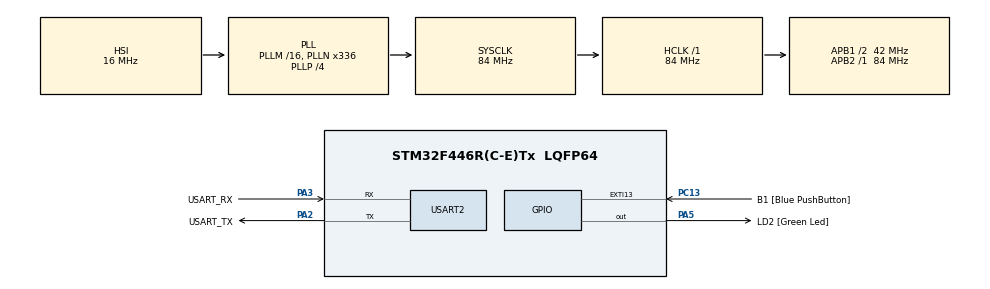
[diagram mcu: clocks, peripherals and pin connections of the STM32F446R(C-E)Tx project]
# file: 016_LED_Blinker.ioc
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Mcu.Family=STM32F4
Mcu.Name=STM32F446R(C-E)Tx
Mcu.Package=LQFP64
NVIC.PriorityGroup=NVIC_PRIORITYGROUP_0
PA13.GPIO_Label=TMS
PA13.Mode=Serial_Wire
PA13.Signal=SYS_JTMS-SWDIO
PA14.GPIO_Label=TCK
PA14.Mode=Serial_Wire
PA14.Signal=SYS_JTCK-SWCLK
PA2.GPIO_Label=USART_TX
PA2.Mode=Asynchronous
PA2.Signal=USART2_TX
PA3.GPIO_Label=USART_RX
PA3.Mode=Asynchronous
PA3.Signal=USART2_RX
PA5.GPIO_Label=LD2 [Green Led]
PA5.Signal=GPIO_Output
PB3.GPIO_Label=SWO
PB3.Signal=SYS_JTDO-SWO
PC13.GPIO_Label=B1 [Blue PushButton]
PC13.GPIO_ModeDefaultEXTI=GPIO_MODE_IT_FALLING
PC13.Signal=GPXTI13
PC14-OSC32_IN.Mode=LSE-External-Oscillator
PC14-OSC32_IN.Signal=RCC_OSC32_IN
PC15-OSC32_OUT.Mode=LSE-External-Oscillator
PC15-OSC32_OUT.Signal=RCC_OSC32_OUT
PH0-OSC_IN.Mode=HSE-External-Oscillator
PH0-OSC_IN.Signal=RCC_OSC_IN
PH1-OSC_OUT.Mode=HSE-External-Oscillator
PH1-OSC_OUT.Signal=RCC_OSC_OUT
ProjectManager.HeapSize=0x200
ProjectManager.StackSize=0x400
ProjectManager.TargetToolchain=STM32CubeIDE
RCC.48MHZClocksFreq_Value=84000000
RCC.AHBFreq_Value=84000000
RCC.APB1CLKDivider=RCC_HCLK_DIV2
RCC.APB1Freq_Value=42000000
RCC.APB1TimFreq_Value=84000000
RCC.APB2Freq_Value=84000000
RCC.APB2TimFreq_Value=84000000
RCC.CortexFreq_Value=84000000
RCC.FLatency-AdvancedSettings=FLASH_LATENCY_2
RCC.HCLKFreq_Value=84000000
RCC.HSE_VALUE=8000000
RCC.HSI_VALUE=16000000
RCC.PLLN=336
RCC.PLLP=RCC_PLLP_DIV4
RCC.SYSCLKFreq_VALUE=84000000
RCC.SYSCLKSource=RCC_SYSCLKSOURCE_PLLCLK
RCC.USBFreq_Value=168000000
RCC.VCOOutputFreq_Value=336000000
USART2.VirtualMode=VM_ASYNC
board=NUCLEO-F446RE

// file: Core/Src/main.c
/* USER CODE BEGIN Header */
/**
  ******************************************************************************
  * @file           : main.c
  * @brief          : Main program body
  ******************************************************************************
  * @attention
  *
  * Copyright (c) 2025 STMicroelectronics.
  * All rights reserved.
  *
  * This software is licensed under terms that can be found in the LICENSE file
  * in the root directory of this software component.
  * If no LICENSE file comes with this software, it is provided AS-IS.
  *
  ******************************************************************************
  */
/* USER CODE END Header */
#include "main.h"

/* USER CODE BEGIN PTD */

typedef enum {
	LED_Green,
	LED_BLUE
}LED_Type;

typedef enum {
	OFF,
	ON
}LED_State;

typedef struct {
	LED_Type type;
	LED_State state;
}LED_Status;

LED_Status currentr_led;

/* USER CODE END PTD */

UART_HandleTypeDef huart2;

void SystemClock_Config(void);
static void MX_GPIO_Init(void);
static void MX_USART2_UART_Init(void);
void led_toggle(void);

int main(void)
{

  /* MCU Configuration--------------------------------------------------------*/

  /* Reset of all peripherals, Initializes the Flash interface and the Systick. */
  HAL_Init();

  /* Configure the system clock */
  SystemClock_Config();

  /* Initialize all configured peripherals */
  MX_GPIO_Init();
  MX_USART2_UART_Init();

  /* Infinite loop */
  while (1)
  {
	  led_toggle();
  }
}

void SystemClock_Config(void)
{
  RCC_OscInitTypeDef RCC_OscInitStruct = {0};
  RCC_ClkInitTypeDef RCC_ClkInitStruct = {0};

  /** Configure the main internal regulator output voltage
  */
  __HAL_RCC_PWR_CLK_ENABLE();
  __HAL_PWR_VOLTAGESCALING_CONFIG(PWR_REGULATOR_VOLTAGE_SCALE3);

  /** Initializes the RCC Oscillators according to the specified parameters
  * in the RCC_OscInitTypeDef structure.
  */
  RCC_OscInitStruct.OscillatorType = RCC_OSCILLATORTYPE_HSI;
  RCC_OscInitStruct.HSIState = RCC_HSI_ON;
  RCC_OscInitStruct.HSICalibrationValue = RCC_HSICALIBRATION_DEFAULT;
  RCC_OscInitStruct.PLL.PLLState = RCC_PLL_ON;
  RCC_OscInitStruct.PLL.PLLSource = RCC_PLLSOURCE_HSI;
  RCC_OscInitStruct.PLL.PLLM = 16;
  RCC_OscInitStruct.PLL.PLLN = 336;
  RCC_OscInitStruct.PLL.PLLP = RCC_PLLP_DIV4;
  RCC_OscInitStruct.PLL.PLLQ = 2;
  RCC_OscInitStruct.PLL.PLLR = 2;
  if (HAL_RCC_OscConfig(&RCC_OscInitStruct) != HAL_OK)
  {
    Error_Handler();
  }

  /** Initializes the CPU, AHB and APB buses clocks
  */
  RCC_ClkInitStruct.ClockType = RCC_CLOCKTYPE_HCLK|RCC_CLOCKTYPE_SYSCLK
                              |RCC_CLOCKTYPE_PCLK1|RCC_CLOCKTYPE_PCLK2;
  RCC_ClkInitStruct.SYSCLKSource = RCC_SYSCLKSOURCE_PLLCLK;
  RCC_ClkInitStruct.AHBCLKDivider = RCC_SYSCLK_DIV1;
  RCC_ClkInitStruct.APB1CLKDivider = RCC_HCLK_DIV2;
  RCC_ClkInitStruct.APB2CLKDivider = RCC_HCLK_DIV1;

  if (HAL_RCC_ClockConfig(&RCC_ClkInitStruct, FLASH_LATENCY_2) != HAL_OK)
  {
    Error_Handler();
  }
}

static void MX_USART2_UART_Init(void)
{

  huart2.Instance = USART2;
  huart2.Init.BaudRate = 115200;
  huart2.Init.WordLength = UART_WORDLENGTH_8B;
  huart2.Init.StopBits = UART_STOPBITS_1;
  huart2.Init.Parity = UART_PARITY_NONE;
  huart2.Init.Mode = UART_MODE_TX_RX;
  huart2.Init.HwFlowCtl = UART_HWCONTROL_NONE;
  huart2.Init.OverSampling = UART_OVERSAMPLING_16;
  if (HAL_UART_Init(&huart2) != HAL_OK)
  {
    Error_Handler();
  }

}

static void MX_GPIO_Init(void)
{
  GPIO_InitTypeDef GPIO_InitStruct = {0};

  /* GPIO Ports Clock Enable */
  __HAL_RCC_GPIOC_CLK_ENABLE();
  __HAL_RCC_GPIOH_CLK_ENABLE();
  __HAL_RCC_GPIOA_CLK_ENABLE();
  __HAL_RCC_GPIOB_CLK_ENABLE();

  /*Configure GPIO pin Output Level */
  HAL_GPIO_WritePin(LD2_GPIO_Port, LD2_Pin, GPIO_PIN_RESET);

  /*Configure GPIO pin : B1_Pin */
  GPIO_InitStruct.Pin = B1_Pin;
  GPIO_InitStruct.Mode = GPIO_MODE_IT_FALLING;
  GPIO_InitStruct.Pull = GPIO_NOPULL;
  HAL_GPIO_Init(B1_GPIO_Port, &GPIO_InitStruct);

  /*Configure GPIO pin : LD2_Pin */
  GPIO_InitStruct.Pin = LD2_Pin;
  GPIO_InitStruct.Mode = GPIO_MODE_OUTPUT_PP;
  GPIO_InitStruct.Pull = GPIO_NOPULL;
  GPIO_InitStruct.Speed = GPIO_SPEED_FREQ_LOW;
  HAL_GPIO_Init(LD2_GPIO_Port, &GPIO_InitStruct);

}

/* USER CODE BEGIN 4 */
void led_toggle(){
	currentr_led.type = LED_Green;
	HAL_GPIO_TogglePin(GPIOA, GPIO_PIN_5);
	currentr_led.state = HAL_GPIO_ReadPin(GPIOA, GPIO_PIN_5) == GPIO_PIN_SET ? ON : OFF;
	HAL_Delay(2000);
}
/* USER CODE END 4 */

void Error_Handler(void)
{
  __disable_irq();
  while (1)
  {
  }
}
